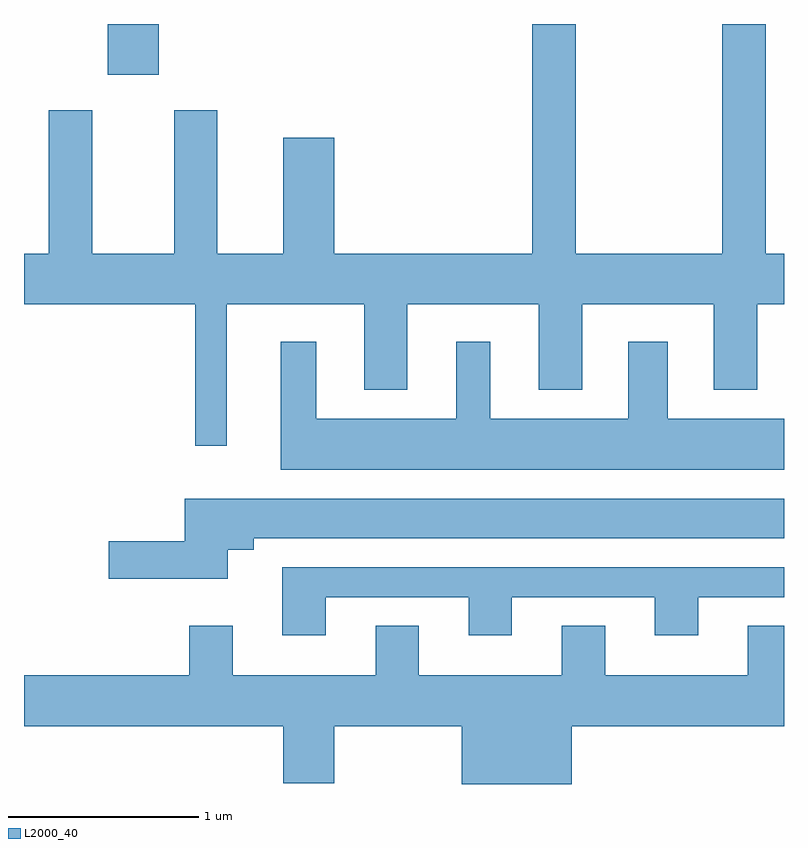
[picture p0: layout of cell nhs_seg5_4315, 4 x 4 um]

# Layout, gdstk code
import gdstk
lib = gdstk.Library(unit=1e-6, precision=1e-09)
def R(c, l, rs):  # rectangles x0, y0, x1, y1
    for r in rs: c.add(gdstk.rectangle(r[:2], r[2:], *l))
def P(c, l, *ps):  # polygons
    for p in ps: c.add(gdstk.Polygon(p, *l))
L2000_40 = (2000, 40)

nhs_seg5_4315 = lib.new_cell('nhs_seg5_4315')
R(nhs_seg5_4315, L2000_40, [(314.051,1435.806,314.319,1436.072)])
P(nhs_seg5_4315, L2000_40, [(314.679,1434.596),(315.401,1434.596),(315.401,1434.146),(315.629,1434.146),(315.629,1434.596),(316.321,1434.596),(316.321,1434.146),(316.549,1434.146),(316.549,1434.596),(317.241,1434.596),(317.241,1434.146),(317.469,1434.146),(317.469,1434.596),(317.611,1434.596),(317.611,1434.864),(317.514,1434.864),(317.514,1436.072),(317.286,1436.072),(317.286,1434.864),(316.514,1434.864),(316.514,1436.072),(316.286,1436.072),(316.286,1434.864),(315.244,1434.864),(315.244,1435.474),(314.976,1435.474),(314.976,1434.864),(314.629,1434.864),(314.629,1435.619),(314.401,1435.619),(314.401,1434.864),(313.969,1434.864),(313.969,1435.619),(313.741,1435.619),(313.741,1434.864),(313.611,1434.864),(313.611,1434.596),(314.511,1434.596),(314.511,1433.853),(314.679,1433.853)],
  [(317.611,1433.994),(316.999,1433.994),(316.999,1434.399),(316.791,1434.399),(316.791,1433.994),(316.064,1433.994),(316.064,1434.399),(315.886,1434.399),(315.886,1433.994),(315.149,1433.994),(315.149,1434.399),(314.961,1434.399),(314.961,1433.726),(317.611,1433.726)],
  [(314.684,1433.306),(314.819,1433.306),(314.819,1433.366),(317.611,1433.366),(317.611,1433.574),(314.456,1433.574),(314.456,1433.349),(314.056,1433.349),(314.056,1433.151),(314.684,1433.151)],
  [(315.199,1433.056),(315.951,1433.056),(315.951,1432.856),(316.179,1432.856),(316.179,1433.056),(316.931,1433.056),(316.931,1432.856),(317.159,1432.856),(317.159,1433.056),(317.611,1433.056),(317.611,1433.214),(314.971,1433.214),(314.971,1432.856),(315.199,1432.856)],
  [(316.494,1432.376),(317.611,1432.376),(317.611,1432.904),(317.421,1432.904),(317.421,1432.644),(316.669,1432.644),(316.669,1432.904),(316.441,1432.904),(316.441,1432.644),(315.689,1432.644),(315.689,1432.904),(315.461,1432.904),(315.461,1432.644),(314.709,1432.644),(314.709,1432.904),(314.481,1432.904),(314.481,1432.644),(313.611,1432.644),(313.611,1432.376),(314.976,1432.376),(314.976,1432.076),(315.244,1432.076),(315.244,1432.376),(315.916,1432.376),(315.916,1432.072),(316.494,1432.072)])

lib.write_gds('nhs_seg5_4315.gds')
